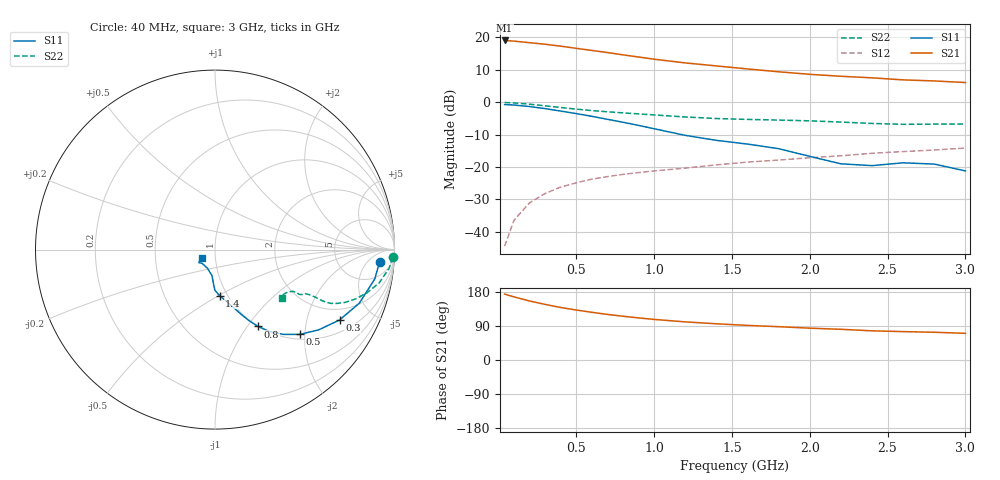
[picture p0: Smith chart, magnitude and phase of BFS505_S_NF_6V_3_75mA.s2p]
! Filename:  BFS505J.S2P  Version:  4.0
! Philips part #: BFS505  Date: Jun 1994
! Bias condition: Vce=6V, Ic=3.75mA
#  MHz  S  MA  R  50
! Freq  S11  S21  S12  S22  !GUM [dB]
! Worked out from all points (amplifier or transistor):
!   21 points, 40 MHz to 3 GHz, reference 50 ohm
!   highest |S21| = 19.1 dB at 40 MHz (marker M1)
!   |S21| within 3 dB of that: start of sweep to 587.2 MHz
!   unconditionally stable (mu >= 1): 1.344 GHz to end of sweep
!   at 300 MHz: K = 0.37, MSG = 23.0 dB, |S12| = -28.2 dB
!   at 1 GHz: K = 0.86, MSG = 17.2 dB, |S12| = -21.2 dB
!   at 3 GHz: K = 1.16, MAG = 7.7 dB, |S12| = -14.2 dB
!   lowest NFmin = 1.20 dB at 500 MHz
!   S11 on the Smith chart (normalised r, x): 40 MHz: 14, -12; 300 MHz: 1.47, -3.17; 500 MHz: 1.10, -1.88; 800 MHz: 1.00, -1.13; 1.4 GHz: 0.92, -0.51; 3 GHz: 0.86, -0.08
40  0.92 -4.2  8.98 173.9  0.006 87.6  0.99 -2.5
100  0.905 -10.4  8.768 166.6  0.015 81.9  0.976 -6.1
200  0.858 -20.3  8.301 155.8  0.028 75.7  0.933 -11.5
300  0.797 -29.5  7.844 146.7  0.039 71.2  0.88 -15.9
400  0.73 -37.8  7.335 138.6  0.049 68.1  0.829 -19.4
500  0.668 -45.0  6.79 131.9  0.057 65.8  0.782 -22.1
600  0.606 -51.2  6.296 125.9  0.065 64.5  0.743 -23.8
700  0.545 -56.6  5.846 120.3  0.071 63.7  0.712 -24.9
800  0.491 -60.7  5.389 115.5  0.077 63.7  0.685 -25.3
900  0.439 -64.4  4.987 111.1  0.082 63.3  0.66 -25.5
1000  0.39 -67.9  4.613 107.1  0.087 63.1  0.637 -25.4
1200  0.308 -75.8  4.044 100.6  0.096 63.2  0.592 -25.4
1400  0.258 -84.4  3.632 95.6  0.108 64.1  0.56 -26.0
1600  0.226 -90.2  3.264 91.3  0.119 64.5  0.543 -27.5
1800  0.192 -92.4  2.949 87.9  0.128 65.5  0.53 -28.0
2000  0.146 -96.6  2.695 84.0  0.139 65.9  0.516 -27.8
2200  0.112 -112.1  2.515 81.0  0.149 66.5  0.494 -28.1
2400  0.105 -133.5  2.379 77.0  0.163 66.5  0.47 -30.0
2600  0.116 -140.7  2.212 74.9  0.173 66.5  0.456 -33.2
2800  0.111 -142.3  2.131 73.2  0.183 67.7  0.459 -35.5
3000  0.087 -149.4  2.012 70.4  0.196 67.9  0.46 -36.3
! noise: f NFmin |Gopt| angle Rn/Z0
500  1.2  0.628  8  0.64
900  1.35  0.544  9  0.67
2000  2  0.388  37  0.54
